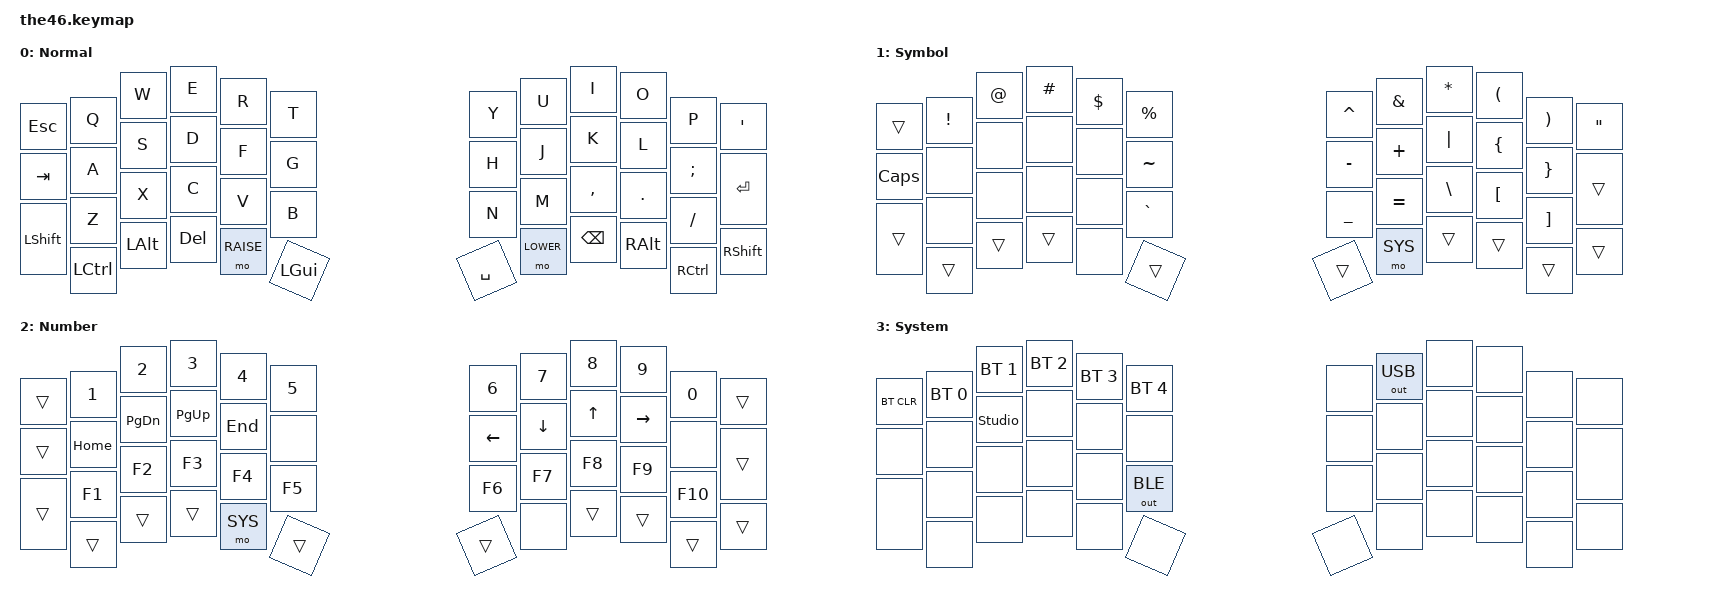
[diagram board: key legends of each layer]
#include <behaviors.dtsi>
#include <dt-bindings/zmk/keys.h>
#include <dt-bindings/zmk/bt.h>
#include <dt-bindings/zmk/outputs.h>

 #define DEFAULT 0
 #define RAISE  1
 #define LOWER  2
 #define SYS 3



/ {
    keymap {
        compatible = "zmk,keymap";

        default_layer { // Layer 0
            display-name = "Normal";
            bindings = <
&kp ESC        &kp Q          &kp W          &kp E          &kp R          &kp T                 &kp Y          &kp U          &kp I          &kp O          &kp P          &kp APOS
&kp TAB        &kp A          &kp S          &kp D          &kp F          &kp G                 &kp H          &kp J          &kp K          &kp L          &kp SEMI       &kp ENTER
&kp LSHFT      &kp Z          &kp X          &kp C          &kp V          &kp B                 &kp N          &kp M          &kp COMMA      &kp DOT        &kp FSLH       &kp RSHFT
               &kp LCTRL      &kp LALT       &kp DEL        &mo RAISE      &kp LGUI              &kp SPACE      &mo LOWER      &kp BSPC       &kp RALT       &kp RCTRL
            >;
        };

        raise_layer {
            display-name = "Symbol";
            bindings = <
&trans         &kp EXCL       &kp AT         &kp HASH       &kp DLLR       &kp PRCNT             &kp CARET      &kp AMPS       &kp ASTRK      &kp LPAR       &kp RPAR       &kp DQT
&kp CAPS       &none          &none          &none          &none          &kp TILDE             &kp MINUS      &kp PLUS       &kp PIPE       &kp LBRC       &kp RBRC       &trans
&trans         &none          &none          &none          &none          &kp GRAVE             &kp UNDER      &kp EQUAL      &kp BSLH       &kp LBKT       &kp RBKT       &trans
               &trans         &trans         &trans         &none          &trans                &trans         &mo SYS        &trans         &trans         &trans
            >;
        };

        lower_layer {
            display-name = "Number";
            bindings = <
&trans         &kp N1         &kp N2         &kp N3         &kp N4         &kp N5                &kp N6         &kp N7         &kp N8         &kp N9         &kp N0         &trans
&trans         &kp HOME       &kp PG_DN      &kp PG_UP      &kp END        &none                 &kp LEFT       &kp DOWN       &kp UP         &kp RIGHT      &none          &trans
&trans         &kp F1         &kp F2         &kp F3         &kp F4         &kp F5                &kp F6         &kp F7         &kp F8         &kp F9         &kp F10        &trans
               &trans         &trans         &trans         &mo SYS        &trans                &trans         &none          &trans         &trans         &trans
            >;
        };

        system_layer {
            display-name = "System";
            bindings = <
&bt BT_CLR     &bt BT_SEL 0   &bt BT_SEL 1   &bt BT_SEL 2   &bt BT_SEL 3   &bt BT_SEL 4          &none          &out OUT_USB   &none          &none          &none          &none
&none          &none          &studio_unlock &none          &none          &none                 &none          &none          &none          &none          &none          &none
&none          &none          &none          &none          &none          &out OUT_BLE          &none          &none          &none          &none          &none          &none
               &none          &none          &none          &none          &none                 &none          &none          &none          &none          &none
            >;
        };
    };
 };
